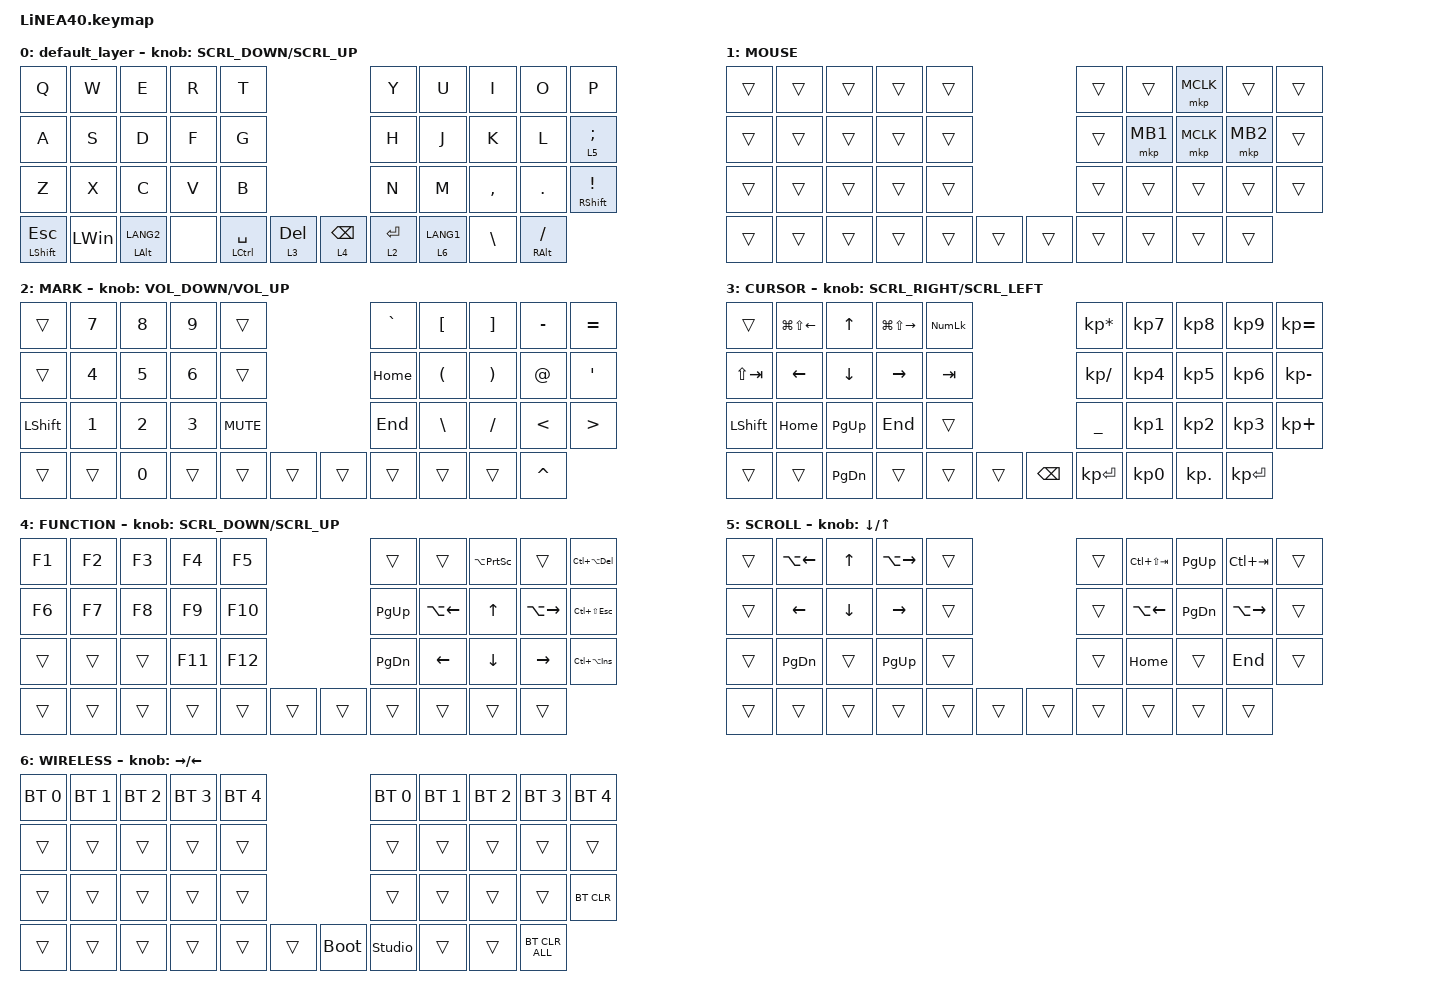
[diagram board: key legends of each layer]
#define ZMK_POINTING_DEFAULT_SCRL_VAL 150

#include <dt-bindings/zmk/input_transform.h>
#include <input/processors.dtsi>
#include <zephyr/dt-bindings/input/input-event-codes.h>
#include <behaviors.dtsi>
#include <dt-bindings/zmk/bt.h>
#include <dt-bindings/zmk/keys.h>
#include <dt-bindings/zmk/pointing.h>

#define MOUSE 1
#define MARK 2
#define CURSOR 3
#define FUNCTION 4
#define SCROLL 5
#define WIRELESS 6

//mouse cursol

&mmv {
    delay-ms = <20>;
    trigger-period-ms = <5>;
    time-to-max-speed-ms = <100>;
    acceleration-exponent = <2>;
};

//mouse scroll

&msc {
    delay-ms = <3>;
    trigger-period-ms = <3>;
    time-to-max-speed-ms = <100>;
    acceleration-exponent = <0>;
};

/ {
    input_processors {
        zip_wheel_scaler: zip_wheel_scaler {
            compatible = "zmk,input-processor-scaler";
            #input-processor-cells = <2>;
            type = <INPUT_EV_REL>;
            codes = <INPUT_REL_WHEEL>;
            track-remainders;
        };
    };
};

&msc_input_listener {
    speed_up {
        layers = <FUNCTION>;
        input-processors = <&zip_wheel_scaler 3 1>; //スクロールを3倍速にする
    };
};

&trackball_listener {
    scroller {
        layers = <SCROLL>;
        input-processors =
            <&zip_xy_transform INPUT_TRANSFORM_Y_INVERT>,
            //スクロール方向を逆転,,,,,,,,,,,,,,,,,,,
            <&zip_xy_to_scroll_mapper>;
    };
};

/ {
    combos {
        compatible = "zmk,combos";

        ZenkakuHankaku {
            bindings = <&kp GRAVE>;
            key-positions = <11 12>;
        };

        DeleteKey {
            bindings = <&kp DEL>;
            key-positions = <7 8>;
        };

        InsertKey {
            bindings = <&kp INS>;
            key-positions = <6 7>;
        };

        CenterClick {
            bindings = <&mkp MB3>;
            key-positions = <17 16>;
        };

        RightClick {
            bindings = <&mkp MB2>;
            key-positions = <18 17>;
        };

        PrevClick {
            bindings = <&mkp MB4>;
            key-positions = <27 28>;
        };

        ClickNext {
            bindings = <&mkp MB5>;
            key-positions = <26 27>;
        };
    };

    behaviors {
        re_kp: sensor_rotate_kp {
            compatible = "zmk,behavior-sensor-rotate-var";
            #sensor-binding-cells = <2>;
            bindings = <&kp>, <&kp>;
        };

        mouse_scrl: mouse_wheel_scrl {
            compatible = "zmk,behavior-sensor-rotate-var";
            #sensor-binding-cells = <2>;
            bindings = <&msc>, <&msc>;

            tap-ms = <20>;
        };
    };

    keymap {
        compatible = "zmk,keymap";

        default_layer {
            bindings = <
&kp Q               &kp W         &kp E               &kp R  &kp T                                          &kp Y        &kp U  &kp I        &kp O     &kp P
&kp A               &kp S         &kp D               &kp F  &kp G                                          &kp H        &kp J  &kp K        &kp L     &lt 5 SEMI
&kp Z               &kp X         &kp C               &kp V  &kp B                                          &kp N        &kp M  &kp COMMA    &kp DOT   &mt RIGHT_SHIFT EXCL
&mt LEFT_SHIFT ESC  &kp LEFT_WIN  &mt LEFT_ALT LANG2  &none  &mt LCTRL SPACE  &lt 3 DEL    &lt 4 BACKSPACE  &lt 2 ENTER         &lt 6 LANG1  &kp BSLH  &mt RIGHT_ALT SLASH
            >;

            sensor-bindings = <&mouse_scrl SCRL_DOWN SCRL_UP>;
        };

        //1

        MOUSE {
            bindings = <
&trans  &trans  &trans  &trans  &trans                    &trans  &trans    &mkp MCLK  &trans    &trans
&trans  &trans  &trans  &trans  &trans                    &trans  &mkp MB1  &mkp MCLK  &mkp MB2  &trans
&trans  &trans  &trans  &trans  &trans                    &trans  &trans    &trans     &trans    &trans
&trans  &trans  &trans  &trans  &trans  &trans    &trans  &trans            &trans     &trans    &trans
            >;
        };

        //2

        MARK {
            bindings = <
&trans          &kp N7        &kp NUMBER_8  &kp NUMBER_9  &trans                        &kp GRAVE  &kp LEFT_BRACKET      &kp RIGHT_BRACKET      &kp MINUS      &kp EQUAL
&trans          &kp NUMBER_4  &kp NUMBER_5  &kp NUMBER_6  &trans                        &kp HOME   &kp LEFT_PARENTHESIS  &kp RIGHT_PARENTHESIS  &kp AT         &kp SINGLE_QUOTE
&kp LEFT_SHIFT  &kp NUMBER_1  &kp NUMBER_2  &kp NUMBER_3  &kp K_MUTE                    &kp END    &kp BACKSLASH         &kp SLASH              &kp LESS_THAN  &kp GREATER_THAN
&trans          &trans        &kp NUMBER_0  &trans        &trans      &trans    &trans  &trans                           &trans                 &trans         &kp CARET
            >;

            sensor-bindings = <&re_kp C_VOLUME_DOWN C_VOLUME_UP>;
        };

        //3

        CURSOR {
            bindings = <
&trans          &kp LG(LS(LEFT_ARROW))  &kp UP_ARROW   &kp LG(LS(RIGHT_ARROW))  &kp KP_NLCK                           &kp KP_MULTIPLY  &kp KP_NUMBER_7  &kp KP_NUMBER_8  &kp KP_NUMBER_9  &kp KP_EQUAL
&kp LS(TAB)     &kp LEFT_ARROW          &kp DOWN       &kp RIGHT_ARROW          &kp TAB                               &kp KP_SLASH     &kp KP_NUMBER_4  &kp KP_NUMBER_5  &kp KP_NUMBER_6  &kp KP_MINUS
&kp LEFT_SHIFT  &kp HOME                &kp PG_UP      &kp END                  &trans                                &kp UNDER        &kp KP_NUMBER_1  &kp KP_NUMBER_2  &kp KP_NUMBER_3  &kp KP_PLUS
&trans          &trans                  &kp PAGE_DOWN  &trans                   &trans       &trans    &kp BACKSPACE  &kp KP_ENTER                      &kp KP_NUMBER_0  &kp KP_DOT       &kp KP_ENTER
            >;

            sensor-bindings = <&mouse_scrl SCRL_RIGHT SCRL_LEFT>;
        };

        //4

        FUNCTION {
            bindings = <
&kp F1  &kp F2  &kp F3  &kp F4   &kp F5                     &trans         &trans              &kp LA(PRINTSCREEN)  &trans               &kp LC(LA(DELETE))
&kp F6  &kp F7  &kp F8  &kp F9   &kp F10                    &kp PAGE_UP    &kp LA(LEFT_ARROW)  &kp UP_ARROW         &kp LA(RIGHT_ARROW)  &kp LC(LS(ESCAPE))
&trans  &trans  &trans  &kp F11  &kp F12                    &kp PAGE_DOWN  &kp LEFT_ARROW      &kp DOWN_ARROW       &kp RIGHT            &kp LC(LA(INS))
&trans  &trans  &trans  &trans   &trans   &trans    &trans  &trans                             &trans               &trans               &trans
            >;

            sensor-bindings = <&mouse_scrl SCRL_DOWN SCRL_UP>;
        };

        //5

        SCROLL {
            bindings = <
&trans  &kp LA(LEFT_ARROW)  &kp UP_ARROW  &kp LA(RIGHT_ARROW)  &trans                    &trans  &kp LC(LS(TAB))     &kp PAGE_UP    &kp LC(TAB)    &trans
&trans  &kp LEFT_ARROW      &kp DOWN      &kp RIGHT_ARROW      &trans                    &trans  &kp LA(LEFT_ARROW)  &kp PAGE_DOWN  &kp LA(RIGHT)  &trans
&trans  &kp PAGE_DOWN       &trans        &kp PAGE_UP          &trans                    &trans  &kp HOME            &trans         &kp END        &trans
&trans  &trans              &trans        &trans               &trans  &trans    &trans  &trans                      &trans         &trans         &trans
            >;

            sensor-bindings = <&inc_dec_kp DOWN_ARROW UP_ARROW>;
        };

        //6

        WIRELESS {
            bindings = <
&bt BT_SEL 0  &bt BT_SEL 1  &bt BT_SEL 2  &bt BT_SEL 3  &bt BT_SEL 4                         &bt BT_SEL 0    &bt BT_SEL 1  &bt BT_SEL 2  &bt BT_SEL 3  &bt BT_SEL 4
&trans        &trans        &trans        &trans        &trans                               &trans          &trans        &trans        &trans        &trans
&trans        &trans        &trans        &trans        &trans                               &trans          &trans        &trans        &trans        &bt BT_CLR
&trans        &trans        &trans        &trans        &trans        &trans    &bootloader  &studio_unlock                &trans        &trans        &bt BT_CLR_ALL
            >;

            sensor-bindings = <&inc_dec_kp RIGHT_ARROW LEFT_ARROW>;
        };
    };
};
